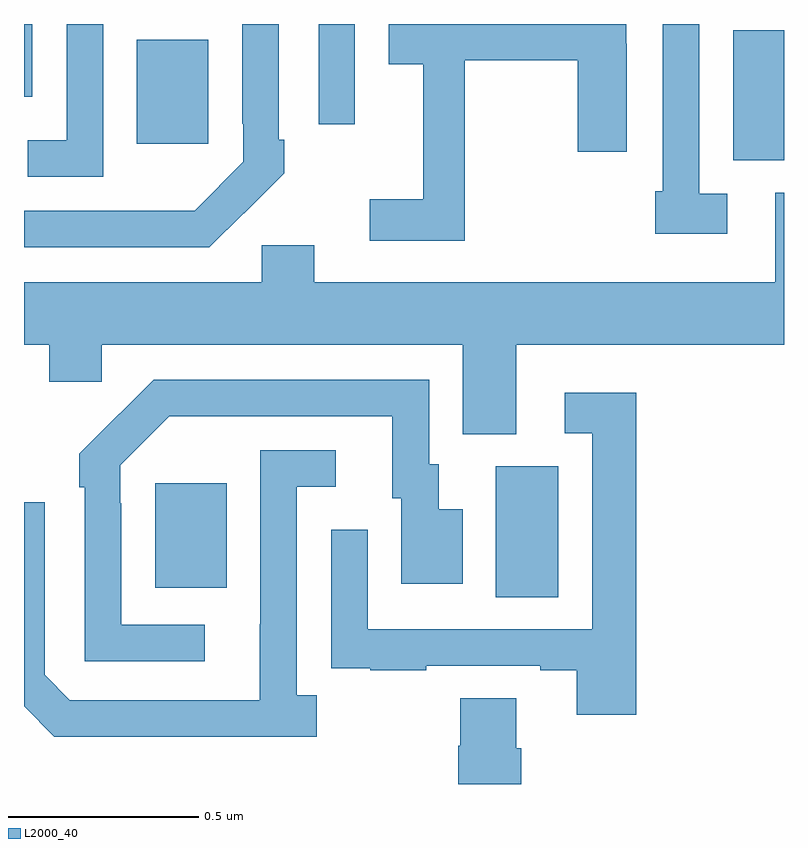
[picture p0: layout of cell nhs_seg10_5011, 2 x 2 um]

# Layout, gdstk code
import gdstk
lib = gdstk.Library(unit=1e-6, precision=1e-09)
def R(c, l, rs):  # rectangles x0, y0, x1, y1
    for r in rs: c.add(gdstk.rectangle(r[:2], r[2:], *l))
def P(c, l, *ps):  # polygons
    for p in ps: c.add(gdstk.Polygon(p, *l))
L2000_40 = (2000, 40)

nhs_seg10_5011 = lib.new_cell('nhs_seg10_5011')
R(nhs_seg10_5011, L2000_40, [(174.242,1292.992,174.406,1293.336), (173.345,1293.017,173.533,1293.292), (174.866,1294.141,175,1294.484), (173.297,1294.185,173.485,1294.459), (173.775,1294.236,173.871,1294.5), (173,1294.308,173.022,1294.5)])
P(nhs_seg10_5011, L2000_40, [(173.579,1294.003),(173.58,1294.002),(173.685,1294.107),(173.685,1294.195),(173.67,1294.195),(173.67,1294.5),(173.574,1294.5),(173.574,1294.237),(173.577,1294.237),(173.577,1294.137),(173.449,1294.009),(173.345,1294.009),(173.345,1294.008),(173,1294.008),(173,1293.912),(173.488,1293.912)],
  [(173.208,1294.5),(173.112,1294.5),(173.112,1294.194),(173.01,1294.194),(173.01,1294.098),(173.208,1294.098)],
  [(174.16,1294.405),(174.457,1294.405),(174.457,1294.164),(174.586,1294.164),(174.586,1294.448),(174.585,1294.448),(174.585,1294.5),(173.96,1294.5),(173.96,1294.394),(174.05,1294.394),(174.05,1294.039),(173.91,1294.039),(173.91,1293.93),(174.16,1293.93)],
  [(174.85,1294.053),(174.777,1294.053),(174.777,1294.5),(174.681,1294.5),(174.681,1294.06),(174.661,1294.06),(174.661,1293.948),(174.85,1293.948)],
  [(174.295,1293.656),(175,1293.656),(175,1294.056),(174.977,1294.056),(174.977,1293.82),(173.764,1293.82),(173.764,1293.918),(173.625,1293.918),(173.625,1293.82),(173,1293.82),(173,1293.656),(173.066,1293.656),(173.066,1293.558),(173.205,1293.558),(173.205,1293.656),(174.155,1293.656),(174.155,1293.421),(174.295,1293.421)],
  [(173.476,1292.919),(173.256,1292.919),(173.256,1293.239),(173.253,1293.239),(173.253,1293.339),(173.382,1293.468),(173.969,1293.468),(173.969,1293.252),(173.993,1293.252),(173.993,1293.027),(174.154,1293.027),(174.154,1293.223),(174.091,1293.223),(174.091,1293.342),(174.066,1293.342),(174.066,1293.564),(173.342,1293.564),(173.251,1293.473),(173.25,1293.474),(173.145,1293.369),(173.145,1293.281),(173.16,1293.281),(173.16,1292.823),(173.476,1292.823)],
  [(174.611,1293.529),(174.423,1293.529),(174.423,1293.423),(174.495,1293.423),(174.495,1292.907),(173.904,1292.907),(173.904,1293.169),(173.808,1293.169),(173.808,1292.914),(173.809,1292.914),(173.809,1292.805),(173.911,1292.805),(173.911,1292.799),(174.059,1292.799),(174.059,1292.811),(174.359,1292.811),(174.359,1292.799),(174.455,1292.799),(174.455,1292.682),(174.611,1292.682)],
  [(173.77,1292.734),(173.718,1292.734),(173.718,1293.282),(173.821,1293.282),(173.821,1293.378),(173.622,1293.378),(173.622,1292.921),(173.621,1292.921),(173.621,1292.721),(173.121,1292.721),(173.055,1292.787),(173.055,1293.241),(173,1293.241),(173,1292.704),(173.08,1292.624),(173.77,1292.624)],
  [(174.308,1292.594),(174.295,1292.594),(174.295,1292.726),(174.148,1292.726),(174.148,1292.601),(174.143,1292.601),(174.143,1292.5),(174.308,1292.5)])

lib.write_gds('nhs_seg10_5011.gds')
